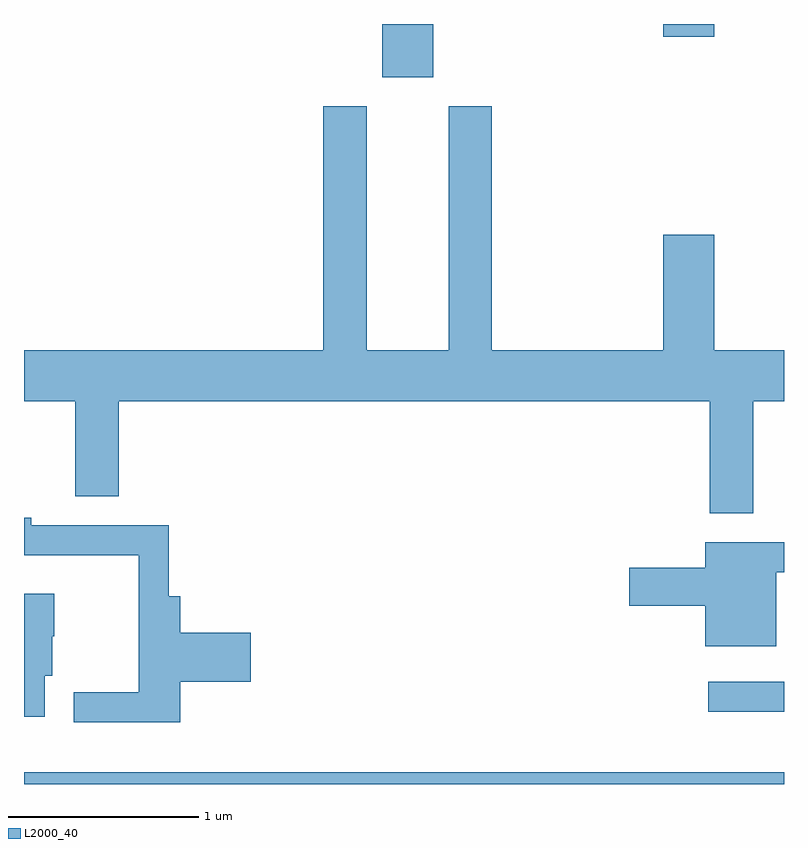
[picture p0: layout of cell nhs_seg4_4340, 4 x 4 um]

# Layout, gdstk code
import gdstk
lib = gdstk.Library(unit=1e-6, precision=1e-09)
def R(c, l, rs):  # rectangles x0, y0, x1, y1
    for r in rs: c.add(gdstk.rectangle(r[:2], r[2:], *l))
def P(c, l, *ps):  # polygons
    for p in ps: c.add(gdstk.Polygon(p, *l))
L2000_40 = (2000, 40)

nhs_seg4_4340 = lib.new_cell('nhs_seg4_4340')
R(nhs_seg4_4340, L2000_40, [(311.611,1365.982,315.611,1366.044), (315.213,1366.361,315.611,1366.519), (313.496,1369.701,313.764,1369.982), (314.976,1369.916,315.244,1369.982)])
P(nhs_seg4_4340, L2000_40, [(315.449,1367.996),(315.611,1367.996),(315.611,1368.264),(315.244,1368.264),(315.244,1368.874),(314.976,1368.874),(314.976,1368.264),(314.074,1368.264),(314.074,1369.549),(313.846,1369.549),(313.846,1368.264),(313.414,1368.264),(313.414,1369.549),(313.186,1369.549),(313.186,1368.264),(311.611,1368.264),(311.611,1367.996),(311.881,1367.996),(311.881,1367.496),(312.109,1367.496),(312.109,1367.996),(315.221,1367.996),(315.221,1367.406),(315.449,1367.406)],
  [(312.434,1366.521),(312.804,1366.521),(312.804,1366.779),(312.434,1366.779),(312.434,1366.969),(312.374,1366.969),(312.374,1367.344),(311.649,1367.344),(311.649,1367.384),(311.611,1367.384),(311.611,1367.186),(312.216,1367.186),(312.216,1366.464),(311.873,1366.464),(311.873,1366.306),(312.434,1366.306)],
  [(315.569,1367.096),(315.611,1367.096),(315.611,1367.254),(315.196,1367.254),(315.196,1367.119),(314.796,1367.119),(314.796,1366.921),(315.196,1366.921),(315.196,1366.706),(315.569,1366.706)],
  [(311.719,1366.551),(311.759,1366.551),(311.759,1366.76),(311.769,1366.76),(311.769,1366.984),(311.611,1366.984),(311.611,1366.336),(311.719,1366.336)])

lib.write_gds('nhs_seg4_4340.gds')
